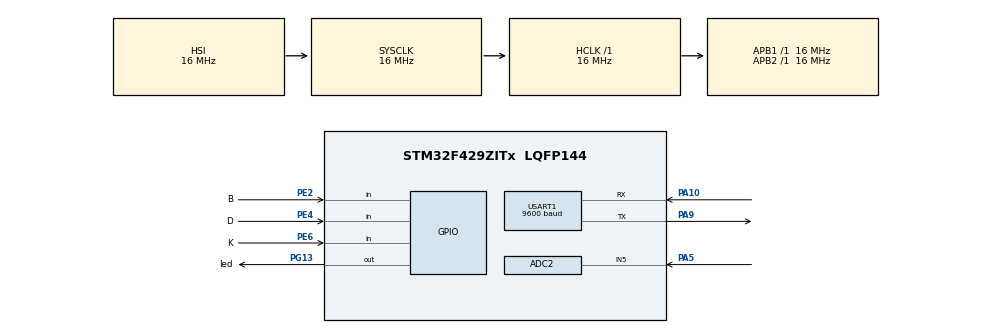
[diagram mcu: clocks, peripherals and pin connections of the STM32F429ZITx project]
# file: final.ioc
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ADC2.Channel-0\#ChannelRegularConversion=ADC_CHANNEL_5
ADC2.NbrOfConversionFlag=1
ADC2.Rank-0\#ChannelRegularConversion=1
ADC2.SamplingTime-0\#ChannelRegularConversion=ADC_SAMPLETIME_56CYCLES
Mcu.Family=STM32F4
Mcu.Name=STM32F429ZITx
Mcu.Package=LQFP144
NVIC.ADC_IRQn=true\:0\:0\:false\:false\:true\:true\:true
NVIC.PriorityGroup=NVIC_PRIORITYGROUP_4
NVIC.USART1_IRQn=true\:0\:0\:false\:false\:true\:true\:true
PA10.Mode=Asynchronous
PA10.Signal=USART1_RX
PA13.Mode=Serial_Wire
PA13.Signal=SYS_JTMS-SWDIO
PA14.Mode=Serial_Wire
PA14.Signal=SYS_JTCK-SWCLK
PA5.Signal=ADCx_IN5
PA9.Mode=Asynchronous
PA9.Signal=USART1_TX
PE2.GPIO_Label=B
PE2.GPIO_PuPd=GPIO_PULLUP
PE2.Signal=GPIO_Input
PE4.GPIO_Label=D
PE4.GPIO_PuPd=GPIO_PULLUP
PE4.Signal=GPIO_Input
PE6.GPIO_Label=K
PE6.GPIO_PuPd=GPIO_PULLUP
PE6.Signal=GPIO_Input
PG13.GPIO_Label=led
PG13.Signal=GPIO_Output
ProjectManager.HeapSize=0x200
ProjectManager.StackSize=0x400
ProjectManager.TargetToolchain=MDK-ARM V5.27
RCC.AHBFreq_Value=16000000
RCC.APB1Freq_Value=16000000
RCC.APB2Freq_Value=16000000
RCC.CortexFreq_Value=16000000
RCC.HSE_VALUE=25000000
RCC.HSI_VALUE=16000000
RCC.LSE_VALUE=32768
RCC.SYSCLKFreq_VALUE=16000000
RCC.VCOOutputFreq_Value=192000000
SH.ADCx_IN5.0=ADC2_IN5,IN5
USART1.BaudRate=9600
USART1.VirtualMode=VM_ASYNC
board=custom

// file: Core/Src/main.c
/* USER CODE BEGIN Header */
/**
  ******************************************************************************
  * @file           : main.c
  * @brief          : Main program body
  ******************************************************************************
  * @attention
  *
  * <h2><center>&copy; Copyright (c) 2021 STMicroelectronics.
  * All rights reserved.</center></h2>
  *
  * This software component is licensed by ST under BSD 3-Clause license,
  * the "License"; You may not use this file except in compliance with the
  * License. You may obtain a copy of the License at:
  *                        opensource.org/licenses/BSD-3-Clause
  *
  ******************************************************************************
  */
/* USER CODE END Header */
#include "main.h"

ADC_HandleTypeDef hadc2;

UART_HandleTypeDef huart1;

void SystemClock_Config(void);
static void MX_GPIO_Init(void);
static void MX_USART1_UART_Init(void);
static void MX_ADC2_Init(void);
/* USER CODE BEGIN PFP */
uint32_t u32_vry;
uint8_t u8_sig_speed;
uint8_t u8_sig_lr;
/* USER CODE END PFP */

/* USER CODE BEGIN 0 */

void HAL_ADC_ConvCpltCallback(ADC_HandleTypeDef* hadc)
{
  /* Prevent unused argument(s) compilation warning */
  UNUSED(hadc);
  /* NOTE : This function Should not be modified, when the callback is needed,
            the HAL_ADC_ConvCpltCallback could be implemented in the user file
   */
	if(hadc->Instance == ADC2){
		u32_vry = HAL_ADC_GetValue(&hadc2);
	}
}

/* USER CODE END 0 */

int main(void)
{

  /* MCU Configuration--------------------------------------------------------*/

  /* Reset of all peripherals, Initializes the Flash interface and the Systick. */
  HAL_Init();

  /* Configure the system clock */
  SystemClock_Config();

  /* Initialize all configured peripherals */
  MX_GPIO_Init();
  MX_USART1_UART_Init();
  MX_ADC2_Init();

  /* Infinite loop */
  while (1)
  {

    /* USER CODE BEGIN 3 */

		// toc do
		HAL_ADC_Start_IT(&hadc2);
		HAL_Delay(50);
		if(u32_vry < 500){
			u8_sig_speed = 'u';
		}else{
			u8_sig_speed = 'd';
		}
		HAL_UART_Transmit_IT(&huart1,&u8_sig_speed,sizeof(u8_sig_speed));
		HAL_Delay(50);

		// coi
		if(HAL_GPIO_ReadPin(K_GPIO_Port, K_Pin)){
			HAL_GPIO_WritePin(led_GPIO_Port, led_Pin,0);
		}else{
			HAL_GPIO_WritePin(led_GPIO_Port, led_Pin,1);
		}

		//xi nhan
		if(HAL_GPIO_ReadPin(D_GPIO_Port, D_Pin)==1){
			u8_sig_lr = 'l';
			HAL_UART_Transmit_IT(&huart1,&u8_sig_lr,sizeof(u8_sig_lr));
			HAL_Delay(50);
		}
		if(HAL_GPIO_ReadPin(B_GPIO_Port, B_Pin)==1){
			u8_sig_lr = 'r';
			HAL_UART_Transmit_IT(&huart1,&u8_sig_lr,sizeof(u8_sig_lr));
			HAL_Delay(50);
		}

  }
  /* USER CODE END 3 */
}

void SystemClock_Config(void)
{
  RCC_OscInitTypeDef RCC_OscInitStruct = {0};
  RCC_ClkInitTypeDef RCC_ClkInitStruct = {0};

  /** Configure the main internal regulator output voltage
  */
  __HAL_RCC_PWR_CLK_ENABLE();
  __HAL_PWR_VOLTAGESCALING_CONFIG(PWR_REGULATOR_VOLTAGE_SCALE3);
  /** Initializes the RCC Oscillators according to the specified parameters
  * in the RCC_OscInitTypeDef structure.
  */
  RCC_OscInitStruct.OscillatorType = RCC_OSCILLATORTYPE_HSI;
  RCC_OscInitStruct.HSIState = RCC_HSI_ON;
  RCC_OscInitStruct.HSICalibrationValue = RCC_HSICALIBRATION_DEFAULT;
  RCC_OscInitStruct.PLL.PLLState = RCC_PLL_NONE;
  if (HAL_RCC_OscConfig(&RCC_OscInitStruct) != HAL_OK)
  {
    Error_Handler();
  }
  /** Initializes the CPU, AHB and APB buses clocks
  */
  RCC_ClkInitStruct.ClockType = RCC_CLOCKTYPE_HCLK|RCC_CLOCKTYPE_SYSCLK
                              |RCC_CLOCKTYPE_PCLK1|RCC_CLOCKTYPE_PCLK2;
  RCC_ClkInitStruct.SYSCLKSource = RCC_SYSCLKSOURCE_HSI;
  RCC_ClkInitStruct.AHBCLKDivider = RCC_SYSCLK_DIV1;
  RCC_ClkInitStruct.APB1CLKDivider = RCC_HCLK_DIV1;
  RCC_ClkInitStruct.APB2CLKDivider = RCC_HCLK_DIV1;

  if (HAL_RCC_ClockConfig(&RCC_ClkInitStruct, FLASH_LATENCY_0) != HAL_OK)
  {
    Error_Handler();
  }
}

static void MX_ADC2_Init(void)
{

  ADC_ChannelConfTypeDef sConfig = {0};

  /** Configure the global features of the ADC (Clock, Resolution, Data Alignment and number of conversion)
  */
  hadc2.Instance = ADC2;
  hadc2.Init.ClockPrescaler = ADC_CLOCK_SYNC_PCLK_DIV2;
  hadc2.Init.Resolution = ADC_RESOLUTION_12B;
  hadc2.Init.ScanConvMode = DISABLE;
  hadc2.Init.ContinuousConvMode = DISABLE;
  hadc2.Init.DiscontinuousConvMode = DISABLE;
  hadc2.Init.ExternalTrigConvEdge = ADC_EXTERNALTRIGCONVEDGE_NONE;
  hadc2.Init.ExternalTrigConv = ADC_SOFTWARE_START;
  hadc2.Init.DataAlign = ADC_DATAALIGN_RIGHT;
  hadc2.Init.NbrOfConversion = 1;
  hadc2.Init.DMAContinuousRequests = DISABLE;
  hadc2.Init.EOCSelection = ADC_EOC_SINGLE_CONV;
  if (HAL_ADC_Init(&hadc2) != HAL_OK)
  {
    Error_Handler();
  }
  /** Configure for the selected ADC regular channel its corresponding rank in the sequencer and its sample time.
  */
  sConfig.Channel = ADC_CHANNEL_5;
  sConfig.Rank = 1;
  sConfig.SamplingTime = ADC_SAMPLETIME_56CYCLES;
  if (HAL_ADC_ConfigChannel(&hadc2, &sConfig) != HAL_OK)
  {
    Error_Handler();
  }

}

static void MX_USART1_UART_Init(void)
{

  huart1.Instance = USART1;
  huart1.Init.BaudRate = 9600;
  huart1.Init.WordLength = UART_WORDLENGTH_8B;
  huart1.Init.StopBits = UART_STOPBITS_1;
  huart1.Init.Parity = UART_PARITY_NONE;
  huart1.Init.Mode = UART_MODE_TX_RX;
  huart1.Init.HwFlowCtl = UART_HWCONTROL_NONE;
  huart1.Init.OverSampling = UART_OVERSAMPLING_16;
  if (HAL_UART_Init(&huart1) != HAL_OK)
  {
    Error_Handler();
  }

}

static void MX_GPIO_Init(void)
{
  GPIO_InitTypeDef GPIO_InitStruct = {0};

  /* GPIO Ports Clock Enable */
  __HAL_RCC_GPIOE_CLK_ENABLE();
  __HAL_RCC_GPIOA_CLK_ENABLE();
  __HAL_RCC_GPIOG_CLK_ENABLE();

  /*Configure GPIO pin Output Level */
  HAL_GPIO_WritePin(led_GPIO_Port, led_Pin, GPIO_PIN_SET);

  /*Configure GPIO pins : B_Pin D_Pin K_Pin */
  GPIO_InitStruct.Pin = B_Pin|D_Pin|K_Pin;
  GPIO_InitStruct.Mode = GPIO_MODE_INPUT;
  GPIO_InitStruct.Pull = GPIO_PULLUP;
  HAL_GPIO_Init(GPIOE, &GPIO_InitStruct);

  /*Configure GPIO pin : led_Pin */
  GPIO_InitStruct.Pin = led_Pin;
  GPIO_InitStruct.Mode = GPIO_MODE_OUTPUT_PP;
  GPIO_InitStruct.Pull = GPIO_NOPULL;
  GPIO_InitStruct.Speed = GPIO_SPEED_FREQ_LOW;
  HAL_GPIO_Init(led_GPIO_Port, &GPIO_InitStruct);

}

void Error_Handler(void)
{
  __disable_irq();
  while (1)
  {
  }
}

/************************ (C) COPYRIGHT STMicroelectronics *****END OF FILE****/
